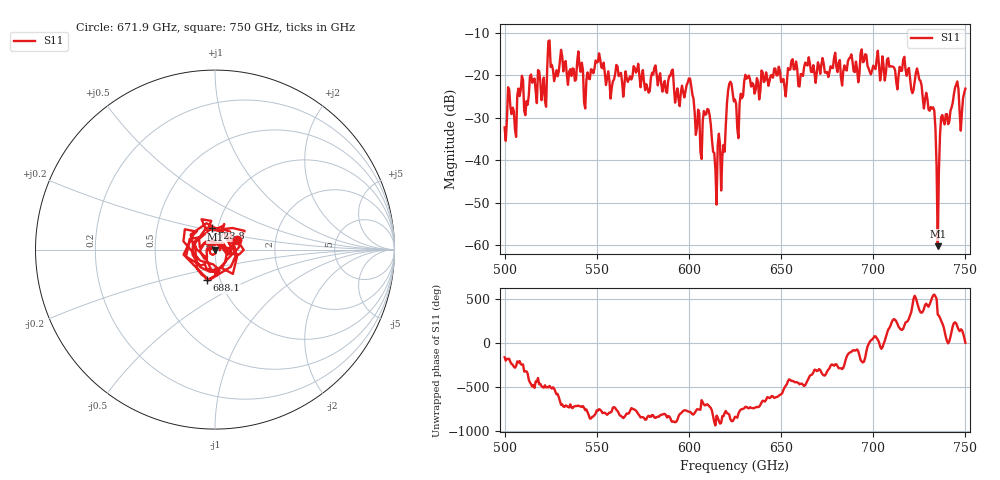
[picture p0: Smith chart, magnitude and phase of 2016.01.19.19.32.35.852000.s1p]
!Created with skrf (http://scikit-rf.org).
# GHz S RI R 50.0
!freq ReS11 ImS11
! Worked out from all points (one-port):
!   401 points, 500 GHz to 750 GHz, reference 50 ohm
!   lowest |S11| = -60.3 dB at 735 GHz (marker M1), VSWR 1.00, Z = 50.1 - j0.0655 ohm
!   |S11| at or under -10 dB: start of sweep to end of sweep
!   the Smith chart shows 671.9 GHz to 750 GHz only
!   S11 on the Smith chart (normalised r, x): 671.9 GHz: 1.28, +0.13; 688.1 GHz: 0.86, -0.30; 723.8 GHz: 0.94, +0.23; 750 GHz: 1.15, -0.00
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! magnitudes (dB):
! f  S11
! 500 GHz  -32.3
! 508.8 GHz  -23.4
! 521.2 GHz  -20.5
! 524.4 GHz  -11.8
! 531.2 GHz  -15.5
! 544.4 GHz  -21.0
! 550.6 GHz  -16.8
! 562.5 GHz  -19.7
! 590 GHz  -20.1
! 593.8 GHz  -23.1
! 600 GHz  -20.7
! 605.6 GHz  -28.9
! 610 GHz  -27.9
! 614.4 GHz  -42.3
! 618.8 GHz  -36.4
! 621.9 GHz  -22.0
! 625 GHz  -25.7
! 631.2 GHz  -20.8
! 656.2 GHz  -16.2
! 671.9 GHz  -17.4
! 687.5 GHz  -15.8
! 688.1 GHz  -15.0
! 718.8 GHz  -18.7
! 723.8 GHz  -18.4
! 732.5 GHz  -27.5
! 735 GHz  -60.3
! 738.1 GHz  -30.8
! 750 GHz  -23.1
